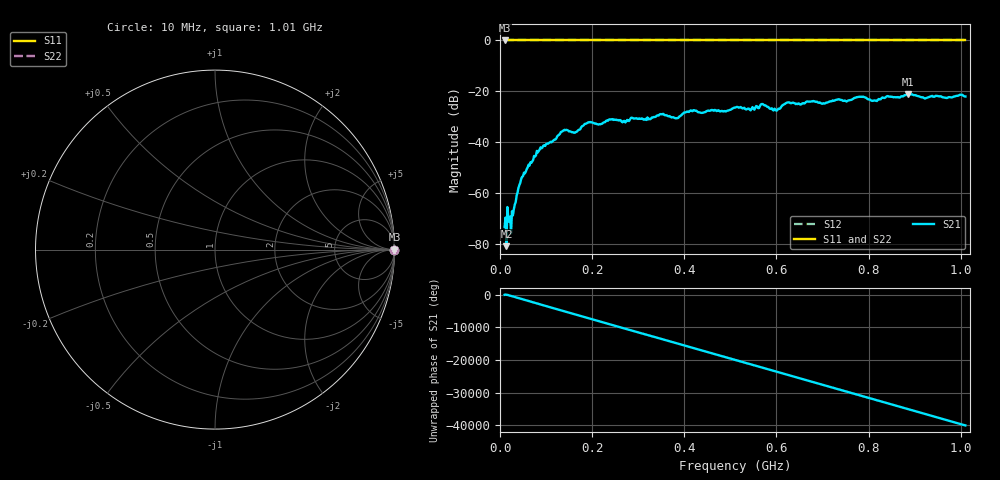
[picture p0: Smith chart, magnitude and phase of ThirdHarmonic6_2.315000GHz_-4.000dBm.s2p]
! 8/17/2025 3:14:25 AM
! C:\ANRITSUVNA\TEMP\TEMP.S2P
! CHANNEL.1
! TR.MEASUREMENT
! RAW.DATA
! RF.CORRECTION.OFF
! AVERAGING.OFF
! IF.BANDWIDTH: 5KHZ
! SWEEPTYPE:  FREQ.SWEEP(Linear)
! Reference Plane Port Info
! PORT:  PORT1  PORT2
! DISTANCE:  0  m  0  m
! TIME:  0  s  0  s
! PHASE.OFFSET:  0  deg.  0  deg.
! LOSS:  0  dB  0  dB
! REF.LOSS:  0  dB  0  dB
! REF.FREQ:  0  Hz  0  Hz
! Power Info
! POWER:  -20  dBm  -20  dBm
! EFF.POWER:  -20  dBm  -20  dBm
! SOURCE.ATTEN:  0  dB  0  dB
! TEST.ATTEN:  0  dB  0  dB
# GHZ S RI R 50.0
! FREQ.GHZ  S11RE  S11IM  S21RE  S21IM  S12RE  S12IM  S22RE  S22IM
!; PortSelection: Port_12
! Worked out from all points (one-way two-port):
!   501 points, 10 MHz to 1.01 GHz, reference 50 ohm
!   highest |S21| = -21.05 dB at 886 MHz (marker M1); lowest = -80.7 dB at 14 MHz (marker M2)
!   lowest |S11| = 0.0 dB at 10 MHz (marker M3)
!   |S11| at or under -10 dB: nowhere
!   |S22| runs from 0.0 to 0.0 dB; largest |S21 - S12| = 1.1
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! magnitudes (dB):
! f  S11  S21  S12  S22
! 10 MHz  0.0  -73.2  0.0  0.0
! 14 MHz  0.0  -80.7  0.0  0.0
! 28 MHz  0.0  -68.6  0.0  0.0
! 40 MHz  0.0  -57.8  0.0  0.0
! 48 MHz  0.0  -53.5  0.0  0.0
! 84 MHz  0.0  -43.3  0.0  0.0
! 136 MHz  0.0  -35.6  0.0  0.0
! 162 MHz  0.0  -36.2  0.0  0.0
! 178 MHz  0.0  -33.7  0.0  0.0
! 344 MHz  0.0  -29.5  0.0  0.0
! 384 MHz  0.0  -30.5  0.0  0.0
! 416 MHz  0.0  -27.7  0.0  0.0
! 510 MHz  0.0  -26.3  0.0  0.0
! 570 MHz  0.0  -24.9  0.0  0.0
! 598 MHz  0.0  -27.2  0.0  0.0
! 624 MHz  0.0  -24.3  0.0  0.0
! 678 MHz  0.0  -23.9  0.0  0.0
! 784 MHz  0.0  -22.1  0.0  0.0
! 814 MHz  0.0  -23.5  0.0  0.0
! 844 MHz  0.0  -22.0  0.0  0.0
! 886 MHz  0.0  -21.0  0.0  0.0
! 1.01 GHz  0.0  -22.0  0.0  0.0
